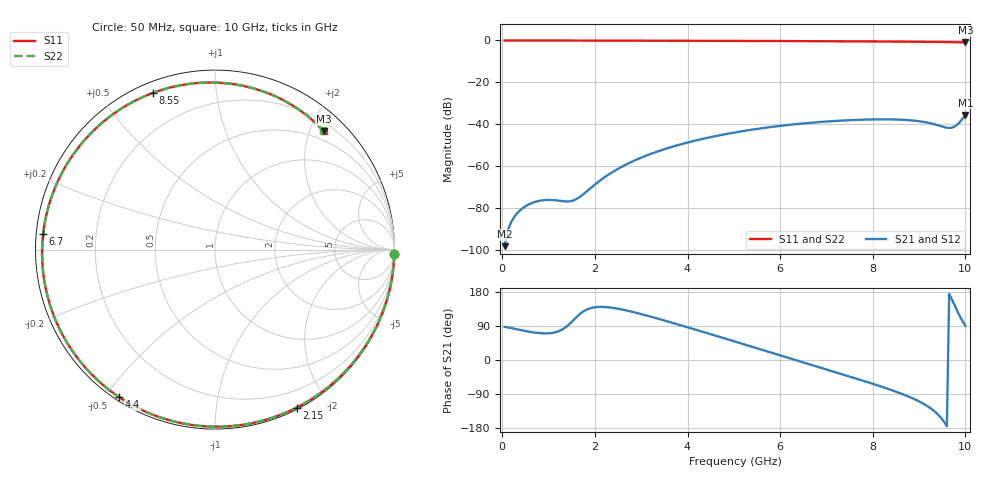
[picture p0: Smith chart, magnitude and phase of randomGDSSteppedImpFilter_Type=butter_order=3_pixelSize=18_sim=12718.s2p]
! freq	dB(S11)	phase(S11)	dB(S12)	phase(S12)
!  dB(S21)	phase(S21)	dB(S22)	phase(S22)
!S-par simulation data
#  GHz  S  DB  R 50
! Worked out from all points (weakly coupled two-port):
!   200 points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, 50 MHz to 10 GHz, reference 50 ohm
!   highest |S21| = -35.60 dB at 10 GHz (marker M1); lowest = -98.2 dB at 50 MHz (marker M2)
!   lowest |S11| = -1.0 dB at 10 GHz (marker M3), VSWR 18.04, Z = 16.8 + j112 ohm
!   |S11| at or under -10 dB: nowhere
!   |S22| runs from -0.9 to 0.0 dB; largest |S21 - S12| = 0
!   S11 on the Smith chart (normalised r, x): 50 MHz: 1, -75; 2.15 GHz: 0.02, -1.64; 4.4 GHz: 0.01, -0.54; 6.7 GHz: 0.02, +0.05; 8.55 GHz: 0.05, +0.68; 10 GHz: 0.34, +2.23
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0.05  -0.00 -1.5  -98.15 87.4  -98.15 87.4  -0.00 -1.5
0.45  -0.02 -13.5  -79.86 77.6  -79.86 77.6  -0.02 -13.5
0.65  -0.02 -19.4  -77.48 73.3  -77.48 73.3  -0.02 -19.4
0.9  -0.03 -26.8  -76.20 70.3  -76.20 70.3  -0.03 -26.8
1.45  -0.05 -42.8  -76.78 94.9  -76.78 94.9  -0.05 -42.8
1.6  -0.06 -47.1  -75.71 113.1  -75.71 113.1  -0.06 -47.1
1.75  -0.06 -51.4  -73.38 128.0  -73.38 128.0  -0.06 -51.4
2.15  -0.08 -62.7  -66.19 140.2  -66.19 140.2  -0.08 -62.7
2.7  -0.10 -77.9  -58.90 130.2  -58.90 130.2  -0.10 -77.8
3.4  -0.13 -96.7  -52.61 107.7  -52.61 107.7  -0.13 -96.6
4.4  -0.17 -122.9  -46.60 71.8  -46.60 71.8  -0.17 -122.8
5.05  -0.21 -139.9  -43.78 47.7  -43.78 47.7  -0.21 -139.8
5.9  -0.27 -162.6  -41.02 16.0  -41.02 16.0  -0.27 -162.5
6.7  -0.34 174.6  -39.20 -13.8  -39.20 -13.8  -0.34 174.8
7.15  -0.39 160.9  -38.47 -30.5  -38.47 -30.5  -0.39 161.1
7.55  -0.43 148.0  -37.99 -45.5  -37.99 -45.5  -0.43 148.2
8.35  -0.52 119.4  -37.65 -77.0  -37.65 -77.0  -0.52 119.7
8.55  -0.55 111.7  -37.76 -85.8  -37.76 -85.8  -0.55 111.9
9.1  -0.63 88.9  -38.88 -115.8  -38.88 -115.8  -0.63 89.2
9.65  -0.78 64.1  -41.74 174.2  -41.74 174.2  -0.77 64.5
9.8  -0.85 57.0  -40.59 135.8  -40.59 135.8  -0.84 57.5
10  -0.96 47.5  -35.60 90.1  -35.60 90.1  -0.95 48.0
